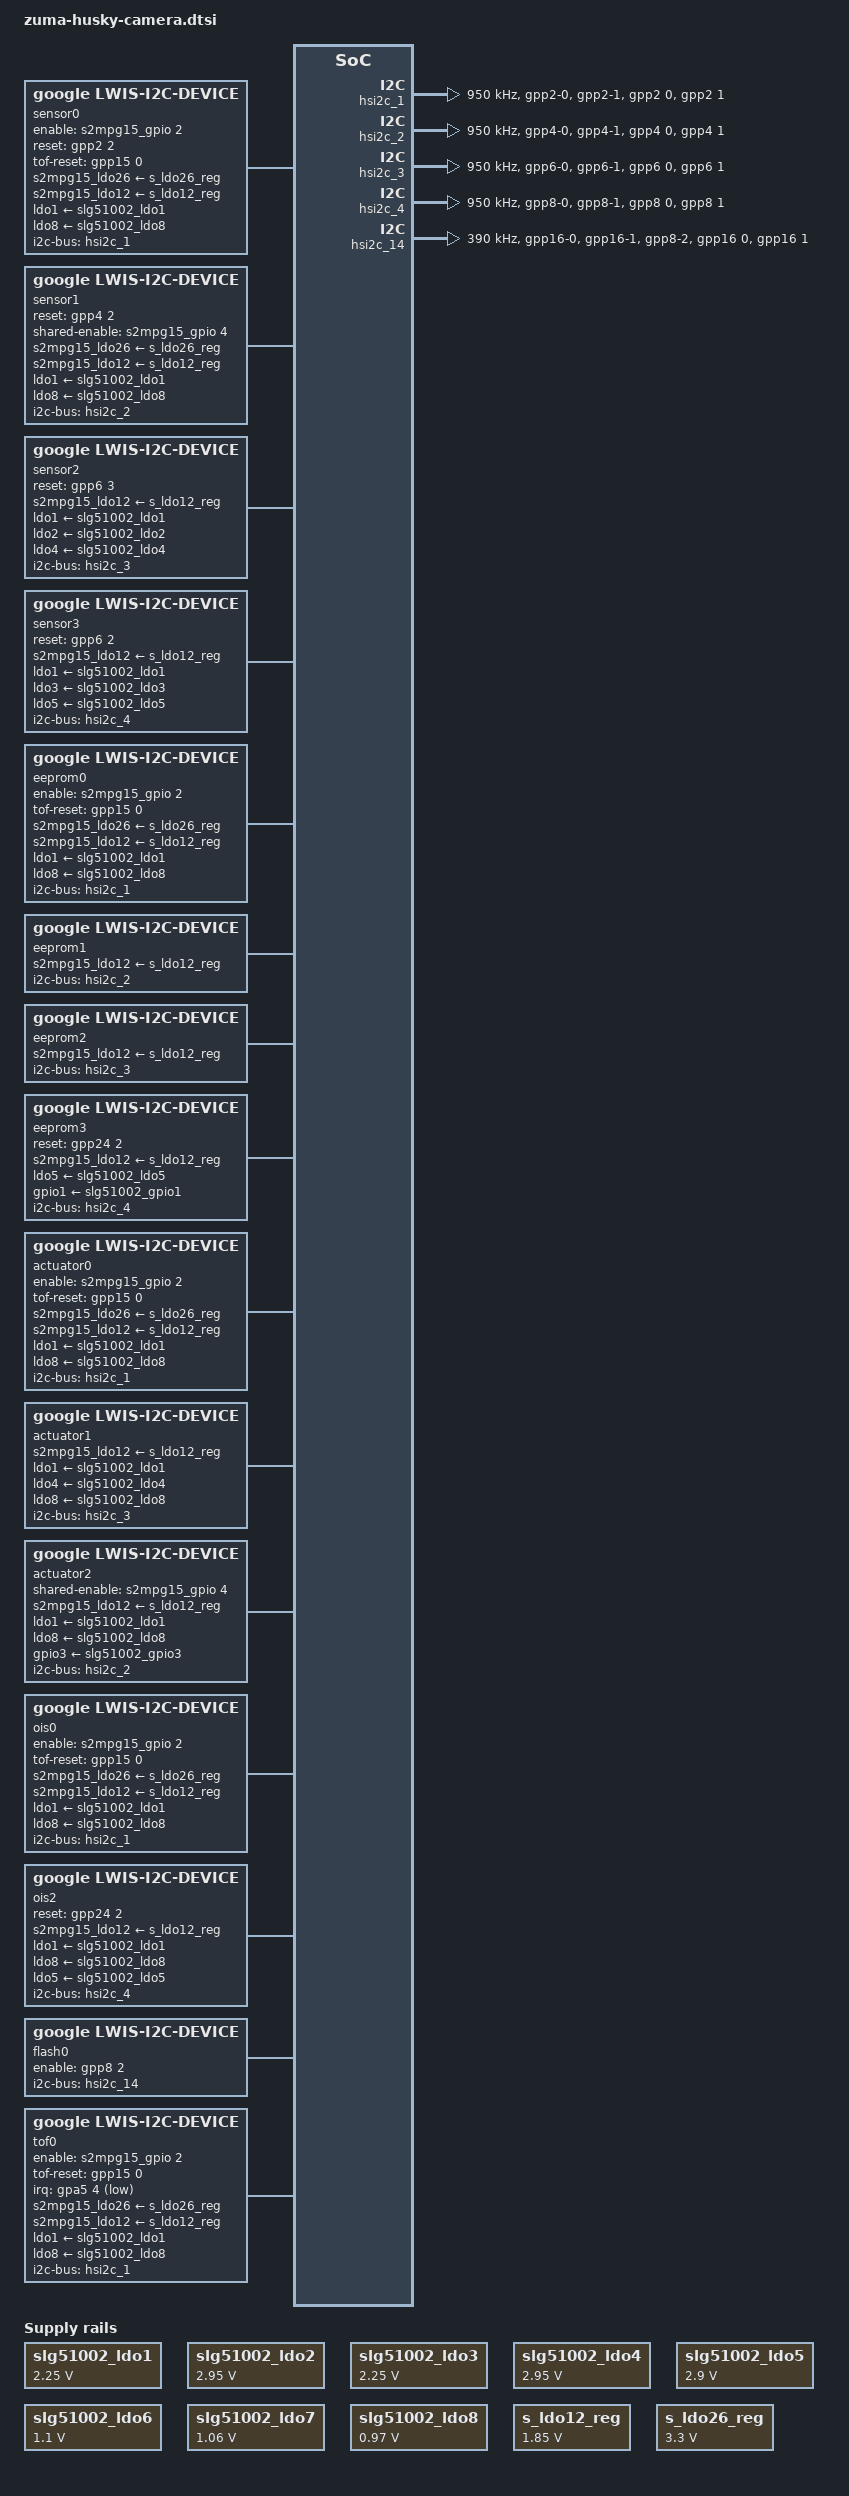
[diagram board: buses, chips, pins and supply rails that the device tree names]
// SPDX-License-Identifier: GPL-2.0-only
/*
 * zuma camera lwis device tree for ripcurrent
 *
 * Copyright 2022 Google LLC.
 *
 */

#include <dt-bindings/clock/zuma.h>
#include <dt-bindings/gpio/gpio.h>
#include <arm64/exynos/exynos-pinctrl.h>
#include <dt-bindings/lwis/platform/zuma/tof.h>

&slg51002_ldo1 {
	regulator-min-microvolt = <2250000>;
	regulator-max-microvolt = <2250000>;
};

&slg51002_ldo2 {
	regulator-min-microvolt = <2950000>;
	regulator-max-microvolt = <2950000>;
};

&slg51002_ldo3 {
	regulator-min-microvolt = <2250000>;
	regulator-max-microvolt = <2250000>;
};

&slg51002_ldo4 {
	regulator-min-microvolt = <2950000>;
	regulator-max-microvolt = <2950000>;
};

&slg51002_ldo5 {
	regulator-min-microvolt = <2900000>;
	regulator-max-microvolt = <2900000>;
};

&slg51002_ldo6 {
	regulator-min-microvolt = <1100000>;
	regulator-max-microvolt = <1100000>;
};

&slg51002_ldo7 {
	regulator-min-microvolt = <1060000>;
	regulator-max-microvolt = <1060000>;
};

&slg51002_ldo8 {
	regulator-min-microvolt = <970000>;
	regulator-max-microvolt = <970000>;
};

&s_ldo12_reg {
	regulator-min-microvolt = <1850000>;
	regulator-max-microvolt = <1850000>;
};

&s_ldo26_reg {
	regulator-min-microvolt = <3300000>;
	regulator-max-microvolt = <3300000>;
};

&pinctrl_11 {
	hsi2c1_bus: hsi2c1-bus {
		samsung,pin-pud = <EXYNOS_PIN_PULL_UP>;
	};

	hsi2c1_bus_in: hsi2c1-bus-in {
		samsung,pins = "gpp2-0", "gpp2-1";
		samsung,pin-function = <EXYNOS_PIN_FUNC_INPUT>;
		samsung,pin-pud = <EXYNOS_PIN_PULL_NONE>;
		samsung,pin-drv = <ZUMA_PIN_DRV_X1>;
	};

	hsi2c2_bus: hsi2c2-bus {
		samsung,pin-pud = <EXYNOS_PIN_PULL_UP>;
	};

	hsi2c2_bus_in: hsi2c2-bus-in {
		samsung,pins = "gpp4-0", "gpp4-1";
		samsung,pin-function = <EXYNOS_PIN_FUNC_INPUT>;
		samsung,pin-pud = <EXYNOS_PIN_PULL_NONE>;
		samsung,pin-drv = <ZUMA_PIN_DRV_X1>;
	};

	hsi2c3_bus: hsi2c3-bus {
		samsung,pin-pud = <EXYNOS_PIN_PULL_UP>;
	};

	hsi2c3_bus_in: hsi2c3-bus-in {
		samsung,pins = "gpp6-0", "gpp6-1";
		samsung,pin-function = <EXYNOS_PIN_FUNC_INPUT>;
		samsung,pin-pud = <EXYNOS_PIN_PULL_NONE>;
		samsung,pin-drv = <ZUMA_PIN_DRV_X1>;
	};

	hsi2c4_bus: hsi2c4-bus {
		samsung,pin-pud = <EXYNOS_PIN_PULL_UP>;
	};

	hsi2c4_bus_in: hsi2c4-bus-in {
		samsung,pins = "gpp8-0", "gpp8-1";
		samsung,pin-function = <EXYNOS_PIN_FUNC_INPUT>;
		samsung,pin-pud = <EXYNOS_PIN_PULL_NONE>;
		samsung,pin-drv = <ZUMA_PIN_DRV_X1>;
	};

	hsi2c14_bus: hsi2c14-bus {
		samsung,pins = "gpp16-0", "gpp16-1";
		samsung,pin-function = <EXYNOS_PIN_FUNC_2>;
		samsung,pin-pud = <EXYNOS_PIN_PULL_NONE>;
		samsung,pin-drv = <ZUMA_PIN_DRV_X1>;
		samsung,pin-con-pdn = <EXYNOS_PIN_PDN_PREV>;
		samsung,pin-pud-pdn = <EXYNOS_PIN_PULL_NONE>;
	};

	/* GPP8[2] Flashlight Enable */
	flash_en: flash-en {
		samsung,pins = "gpp8-2";
		samsung,pin-function = <EXYNOS_PIN_FUNC_INPUT>;
		samsung,pin-pud = <EXYNOS_PIN_PULL_NONE>;
		samsung,pin-con-pdn = <EXYNOS_PIN_PDN_PREV>;
		samsung,pin-pud-pdn = <EXYNOS_PIN_PULL_NONE>;
	};

	sensor_mclk1_out: sensor-mclk1-out {
		samsung,pin-drv = <ZUMA_PIN_DRV_X4>;
	};
	sensor_mclk1_fn: sensor-mclk1-fn {
		samsung,pin-drv = <ZUMA_PIN_DRV_X4>;
	};
	sensor_mclk2_out: sensor-mclk2-out {
		samsung,pin-drv = <ZUMA_PIN_DRV_X3>;
	};
	sensor_mclk2_fn: sensor-mclk2-fn {
		samsung,pin-drv = <ZUMA_PIN_DRV_X3>;
	};
	sensor_mclk3_out: sensor-mclk3-out {
		samsung,pin-drv = <ZUMA_PIN_DRV_X3>;
	};
	sensor_mclk3_fn: sensor-mclk3-fn {
		samsung,pin-drv = <ZUMA_PIN_DRV_X3>;
	};
	sensor_mclk4_out: sensor-mclk4-out {
		samsung,pin-drv = <ZUMA_PIN_DRV_X3>;
	};
	sensor_mclk4_fn: sensor-mclk4-fn {
		samsung,pin-drv = <ZUMA_PIN_DRV_X3>;
	};
};

&pinctrl_2 {
	ldaf_irq: ldaf-irq {
		samsung,pins = "gpa5-4"; /* XEINT_4 */
		samsung,pin-function = <EXYNOS_PIN_FUNC_EINT>;
		samsung,pin-pud = <EXYNOS_PIN_PULL_NONE>;
	};
};

&hsi2c_1 {
	#address-cells = <1>;
	#size-cells = <0>;
	gpios = <&gpp2 0 GPIO_ACTIVE_HIGH &gpp2 1 GPIO_ACTIVE_HIGH>;
	status = "okay";
	clock-frequency = <950000>;
	samsung,reset-before-trans;
	samsung,hybrid-polling-mode;
	samsung,trailing-count = <0x20000>;

	pinctrl-names = "default","on_i2c","off_i2c";
	pinctrl-0 = <&hsi2c1_bus_in>;
	pinctrl-1 = <&hsi2c1_bus>;
	pinctrl-2 = <&hsi2c1_bus_in>;
};

&hsi2c_2 {
	#address-cells = <1>;
	#size-cells = <0>;
	gpios = <&gpp4 0 GPIO_ACTIVE_HIGH &gpp4 1 GPIO_ACTIVE_HIGH>;
	status = "okay";
	clock-frequency = <950000>;
	samsung,reset-before-trans;

	pinctrl-names = "default","on_i2c","off_i2c";
	pinctrl-0 = <&hsi2c2_bus_in>;
	pinctrl-1 = <&hsi2c2_bus>;
	pinctrl-2 = <&hsi2c2_bus_in>;
};

&hsi2c_3 {
	#address-cells = <1>;
	#size-cells = <0>;
	gpios = <&gpp6 0 GPIO_ACTIVE_HIGH &gpp6 1 GPIO_ACTIVE_HIGH>;
	status = "okay";
	clock-frequency = <950000>;
	samsung,reset-before-trans;

	pinctrl-names = "default","on_i2c","off_i2c";
	pinctrl-0 = <&hsi2c3_bus_in>;
	pinctrl-1 = <&hsi2c3_bus>;
	pinctrl-2 = <&hsi2c3_bus_in>;
};

&hsi2c_4 {
	#address-cells = <1>;
	#size-cells = <0>;
	gpios = <&gpp8 0 GPIO_ACTIVE_HIGH &gpp8 1 GPIO_ACTIVE_HIGH>;
	status = "okay";
	clock-frequency = <950000>;
	samsung,reset-before-trans;

	pinctrl-names = "default","on_i2c","off_i2c";
	pinctrl-0 = <&hsi2c4_bus_in>;
	pinctrl-1 = <&hsi2c4_bus>;
	pinctrl-2 = <&hsi2c4_bus_in>;
};

&hsi2c_14 {
	#address-cells = <1>;
	#size-cells = <0>;
	gpios = <&gpp16 0 GPIO_ACTIVE_HIGH &gpp16 1 GPIO_ACTIVE_HIGH>;
	status = "okay";
	clock-frequency = <390000>;

	pinctrl-names = "default","on_i2c","off_i2c";
	pinctrl-0 = <&hsi2c14_bus &flash_en>;
	pinctrl-1 = <&hsi2c14_bus>;
	pinctrl-2 = <&hsi2c14_bus>;
};

/ {
	fragment@lwiscamera {
		target-path = "/";
		__overlay__ {
			/* Rear camera power seqeunce */
			rear_camera_power_seq: module_power_seq@0 {
				/* Power up sequence */
				power-up-seqs =
					"ldo1",
					"enable",
					"ldo8",
					"s2mpg15_ldo26",
					"s2mpg15_ldo12",
					"ldo4",
					"mclk_on",
					"tof-reset",
					"ldo5",
					"gpio4";
				power-up-seq-types =
					"regulator",
					"gpio",
					"regulator",
					"regulator",
					"regulator",
					"regulator",
					"pinctrl",
					"gpio",
					"regulator",
					"regulator";
				power-up-seq-delays-us =
					<500
					 10
					 750
					 0
					 0
					 1000
					 0
					 0
					 1000
					 1000>;

				/* Power down sequence */
				power-down-seqs =
					"gpio4",
					"ldo5",
					"tof-reset",
					"mclk_off",
					"ldo4",
					"s2mpg15_ldo12",
					"s2mpg15_ldo26",
					"ldo8",
					"ldo1",
					"enable";
				power-down-seq-types =
					"regulator",
					"regulator",
					"gpio",
					"pinctrl",
					"regulator",
					"regulator",
					"regulator",
					"regulator",
					"regulator",
					"gpio";
				power-down-seq-delays-us =
					<1000
					 1000
					 0
					 1000
					 0
					 0
					 500
					 500
					 0
					 0>;
			};
			/* REAR CAMERA BOITATA */
			sensor0: sensor@0 {
				compatible = "google,lwis-i2c-device";

				/* Device node name */
				node-name = "sensor-boitata";

				/* I2C */
				i2c-bus = <&hsi2c_1>;
				i2c-addr = <0x3D>;

				/* Power up mode */
				lwis,power-up-to-suspend;

				/* Registers */
				reg-addr-bitwidth = <16>;
				reg-value-bitwidth = <16>;
				/* CAMS_LVBUCK_EN for ldo8 */
				enable-gpios = <&s2mpg15_gpio 2 GPIO_ACTIVE_HIGH>;

				/* GPIOs */
				/* RCAM_RST_L GPP2[2] */
				reset-gpios = <&gpp2 2 GPIO_ACTIVE_HIGH>;
				/* XAPC_MCLK8: GPP15[0] */
				tof-reset-gpios = <&gpp15 0 GPIO_ACTIVE_HIGH>;

				/* Power supplies */
				s2mpg15_ldo26-supply = <&s_ldo26_reg>;
				s2mpg15_ldo12-supply = <&s_ldo12_reg>;
				ldo1-supply = <&slg51002_ldo1>;
				ldo8-supply = <&slg51002_ldo8>;
				ldo4-supply = <&slg51002_ldo4>;
				ldo5-supply = <&slg51002_ldo5>;
				gpio4-supply = <&slg51002_gpio4>;

				clocks =
					<&clock CIS_CLK3>,
					<&clock GATE_DFTMUX_CMU_CIS_CLK3>;
				clock-names =
					"CIS_CLK3",
					"GATE_DFTMUX_CMU_CIS_CLK3";
				clock-rates =
					<26000000>,
					<0>;

				/* MCLK Control */
				pinctrl-names = "mclk_on", "mclk_off";
				pinctrl-0 = <&sensor_mclk4_fn &sensor_mclk8_out &ldaf_irq>;
				pinctrl-1 = <&sensor_mclk4_out &sensor_mclk8_out &ldaf_irq>;

				/* Power sequence */
				power-seq = <&rear_camera_power_seq>;

				/* resume sequence */
				resume-seqs = "reset";
				resume-seq-types = "gpio";
				resume-seq-delays-us = <9000>;

				/* suspend sequence */
				suspend-seqs = "reset";
				suspend-seq-types = "gpio";
				suspend-seq-delays-us = <0>;

				/* Thread priority */
				transaction-thread-priority = <99>;

				i2c-lock-group-id = <0>;
			};

			/* FRONT CAMERA DOKKAEBI */
			sensor1: sensor@1 {
				compatible = "google,lwis-i2c-device";

				/* Device node name */
				node-name = "sensor-dokkaebi";

				/* I2C */
				i2c-bus = <&hsi2c_2>;
				i2c-addr = <0x10>;

				/* Registers */
				reg-addr-bitwidth = <16>;
				reg-value-bitwidth = <16>;

				/* GPIOs */
				reset-gpios = <&gpp4 2 GPIO_ACTIVE_HIGH>;
				/* Include front AF power sequence in front cam */
				shared-enable-gpios = <&s2mpg15_gpio 4 GPIO_ACTIVE_HIGH>;

				/* Power supplies */
				s2mpg15_ldo26-supply = <&s_ldo26_reg>;
				s2mpg15_ldo12-supply = <&s_ldo12_reg>;
				ldo1-supply = <&slg51002_ldo1>;
				ldo8-supply = <&slg51002_ldo8>;
				gpio3-supply = <&slg51002_gpio3>;

				clocks =
					<&clock CIS_CLK1>,
					<&clock GATE_DFTMUX_CMU_CIS_CLK1>;
				clock-names =
					"CIS_CLK1",
					"GATE_DFTMUX_CMU_CIS_CLK1";
				clock-rates =
					<24000000>,
					<0>;

				/* MCLK Control */
				pinctrl-names = "mclk_on", "mclk_off";
				pinctrl-0 = <&sensor_mclk2_fn>;
				pinctrl-1 = <&sensor_mclk2_out>;

				/* Power up sequence */
				power-up-seqs =
					"ldo1",
					"ldo8",
					"s2mpg15_ldo26",
					"s2mpg15_ldo12",
					"gpio3",
					"shared-enable",
					"mclk_on",
					"reset";
				power-up-seq-types =
					"regulator",
					"regulator",
					"regulator",
					"regulator",
					"regulator",
					"gpio",
					"pinctrl",
					"gpio";
				power-up-seq-delays-us =
					<500
					 750
					 0
					 0
					 500
					 500
					 1000
					 8000>;

				/* Power down sequence */
				power-down-seqs =
					"reset",
					"shared-enable",
					"mclk_off",
					"gpio3",
					"s2mpg15_ldo12",
					"s2mpg15_ldo26",
					"ldo8",
					"ldo1";
				power-down-seq-types =
					"gpio",
					"gpio",
					"pinctrl",
					"regulator",
					"regulator",
					"regulator",
					"regulator",
					"regulator";
				power-down-seq-delays-us =
					<0
					 0
					 1000
					 0
					 0
					 500
					 500
					 0>;

				/* Thread priority */
				transaction-thread-priority = <99>;

				i2c-lock-group-id = <1>;
			};


			/* REAR ULTRA WIDE CAMERA OKSOKO */
			sensor2: sensor@2 {
				compatible = "google,lwis-i2c-device";

				/* Device node name */
				node-name = "sensor-oksoko";

				/* I2C */
				i2c-bus = <&hsi2c_3>;
				i2c-addr = <0x1A>;

				/* Registers */
				reg-addr-bitwidth = <16>;
				reg-value-bitwidth = <8>;

				/* GPIOs */
				reset-gpios = <&gpp6 3 GPIO_ACTIVE_HIGH>;

				/* Power supplies */
				s2mpg15_ldo12-supply = <&s_ldo12_reg>;
				ldo1-supply = <&slg51002_ldo1>;
				ldo2-supply = <&slg51002_ldo2>;
				ldo4-supply = <&slg51002_ldo4>;
				ldo6-supply = <&slg51002_ldo6>;
				ldo8-supply = <&slg51002_ldo8>;
				gpio2-supply = <&slg51002_gpio2>;

				clocks =
					<&clock CIS_CLK0>,
					<&clock GATE_DFTMUX_CMU_CIS_CLK0>;
				clock-names =
					"CIS_CLK0",
					"GATE_DFTMUX_CMU_CIS_CLK0";
				clock-rates =
					<24000000>,
					<0>;

				/* MCLK Control */
				pinctrl-names = "mclk_on", "mclk_off";
				pinctrl-0 = <&sensor_mclk1_fn>;
				pinctrl-1 = <&sensor_mclk1_out>;

				/* Power up sequence */
				power-up-seqs =
					"ldo1",
					"ldo8",
					"s2mpg15_ldo12",
					"ldo6",
					"ldo2",
					"ldo4",
					"gpio2",
					"mclk_on",
					"reset";
				power-up-seq-types =
					"regulator",
					"regulator",
					"regulator",
					"regulator",
					"regulator",
					"regulator",
					"regulator",
					"pinctrl",
					"gpio";
				power-up-seq-delays-us =
					<500
					 750
					 0
					 0
					 0
					 0
					 1000
					 1000
					 10000>;

				/* Power down sequence */
				power-down-seqs =
					"reset",
					"mclk_off",
					"gpio2",
					"ldo4",
					"ldo2",
					"ldo6",
					"s2mpg15_ldo12",
					"ldo8",
					"ldo1";
				power-down-seq-types =
					"gpio",
					"pinctrl",
					"regulator",
					"regulator",
					"regulator",
					"regulator",
					"regulator",
					"regulator",
					"regulator";
				power-down-seq-delays-us =
					<1000
					 1000
					 0
					 0
					 0
					 0
					 500
					 500
					 0>;

				/* resume sequence */
				resume-seqs = "reset";
				resume-seq-types = "gpio";
				resume-seq-delays-us = <7600>;

				/* suspend sequence */
				suspend-seqs = "reset";
				suspend-seq-types = "gpio";
				suspend-seq-delays-us = <0>;

				/* Thread priority */
				transaction-thread-priority = <99>;

				i2c-lock-group-id = <2>;
			};

			/* REAR Folded Tele Camera KRAKEN */
			sensor3: sensor@3 {
				compatible = "google,lwis-i2c-device";

				/* Device node name */
				node-name = "sensor-kraken";

				/* I2C */
				i2c-bus = <&hsi2c_4>;
				i2c-addr = <0x2D>;

				/* Registers */
				reg-addr-bitwidth = <16>;
				reg-value-bitwidth = <16>;

				/* GPIOs */
				/* RTCAM_RST_L GPP6[2] */
				reset-gpios = <&gpp6 2 GPIO_ACTIVE_HIGH>;

				/* Power supplies */
				s2mpg15_ldo12-supply = <&s_ldo12_reg>;
				ldo1-supply = <&slg51002_ldo1>;
				ldo3-supply = <&slg51002_ldo3>;
				ldo5-supply = <&slg51002_ldo5>;
				ldo7-supply = <&slg51002_ldo7>;
				ldo8-supply = <&slg51002_ldo8>;
				gpio1-supply = <&slg51002_gpio1>;

				clocks =
					<&clock CIS_CLK2>,
					<&clock GATE_DFTMUX_CMU_CIS_CLK2>;
				clock-names =
					"CIS_CLK2",
					"GATE_DFTMUX_CMU_CIS_CLK2";
				clock-rates =
					<24000000>,
					<0>;

				/* MCLK Control */
				pinctrl-names = "mclk_on", "mclk_off";
				pinctrl-0 = <&sensor_mclk3_fn>;
				pinctrl-1 = <&sensor_mclk3_out>;

				/* Power up sequence */
				power-up-seqs =
					"ldo1",
					"ldo8",
					"s2mpg15_ldo12",
					"ldo7",
					"ldo3",
					"ldo5",
					"gpio1",
					"mclk_on",
					"reset";
				power-up-seq-types =
					"regulator",
					"regulator",
					"regulator",
					"regulator",
					"regulator",
					"regulator",
					"regulator",
					"pinctrl",
					"gpio";
				power-up-seq-delays-us =
					<500
					 750
					 300
					 0
					 0
					 500
					 500
					 1000
					 10000>;

				/* Power down sequence */
				power-down-seqs =
					"reset",
					"mclk_off",
					"gpio1",
					"ldo5",
					"ldo7",
					"s2mpg15_ldo12",
					"ldo8",
					"ldo1",
					"ldo3";
				power-down-seq-types =
					"gpio",
					"pinctrl",
					"regulator",
					"regulator",
					"regulator",
					"regulator",
					"regulator",
					"regulator",
					"regulator";
				power-down-seq-delays-us =
					<0
					 0
					 1000
					 0
					 0
					 500
					 500
					 0
					 0>;

				/* Thread priority */
				transaction-thread-priority = <99>;

				i2c-lock-group-id = <3>;
				transaction-process-limit = <20>;
			};

			/* EEPROM DJINN for BOITATA*/
			eeprom0: eeprom@0 {
				compatible = "google,lwis-i2c-device";
				/* Device node name */
				node-name = "eeprom-djinn";
				/* I2C */
				i2c-bus = <&hsi2c_1>;
				i2c-addr = <0x24>;
				/* Registers */
				reg-addr-bitwidth = <16>;
				reg-value-bitwidth = <32>;
				/* GPIOs */
				enable-gpios = <&s2mpg15_gpio 2 GPIO_ACTIVE_HIGH>;
				tof-reset-gpios = <&gpp15 0 GPIO_ACTIVE_HIGH>;
				/* Power supplies */
				s2mpg15_ldo26-supply = <&s_ldo26_reg>;
				s2mpg15_ldo12-supply = <&s_ldo12_reg>;
				ldo1-supply = <&slg51002_ldo1>;
				ldo8-supply = <&slg51002_ldo8>;
				ldo4-supply = <&slg51002_ldo4>;
				ldo5-supply = <&slg51002_ldo5>;
				gpio4-supply = <&slg51002_gpio4>;
				/* MCLK Control */
				pinctrl-names = "mclk_on", "mclk_off";
				pinctrl-0 = <&sensor_mclk4_fn &sensor_mclk8_out &ldaf_irq>;
				pinctrl-1 = <&sensor_mclk4_out &sensor_mclk8_out &ldaf_irq>;
				/* Power sequence */
				power-seq = <&rear_camera_power_seq>;
			};

			/* EEPROM SMAUG for DOKKAEBI */
			eeprom1: eeprom@1 {
				compatible = "google,lwis-i2c-device";

				/* Device node name */
				node-name = "eeprom-smaug-dokkaebi";

				/* I2C */
				i2c-bus = <&hsi2c_2>;
				i2c-addr = <0x51>;

				/* Registers */
				reg-addr-bitwidth = <16>;
				reg-value-bitwidth = <8>;

				/* Power supplies */
				s2mpg15_ldo12-supply = <&s_ldo12_reg>;

				/* Power up sequence */
				power-up-seqs =
					"s2mpg15_ldo12";
				power-up-seq-types =
					"regulator";
				power-up-seq-delays-us =
					<1000>;

				/* Power down sequence */
				power-down-seqs =
					"s2mpg15_ldo12";
				power-down-seq-types =
					"regulator";
				power-down-seq-delays-us =
					<1000>;

				i2c-lock-group-id = <1>;
			};

			/* EEPROM SMAUG for OKSOKO */
			eeprom2: eeprom@2 {
				compatible = "google,lwis-i2c-device";

				/* Device node name */
				node-name = "eeprom-smaug-oksoko";

				/* I2C */
				i2c-bus = <&hsi2c_3>;
				i2c-addr = <0x50>;

				/* Registers */
				reg-addr-bitwidth = <16>;
				reg-value-bitwidth = <8>;

				/* Power supplies */
				s2mpg15_ldo12-supply = <&s_ldo12_reg>;

				/* Power up sequence */
				power-up-seqs =
					"s2mpg15_ldo12";
				power-up-seq-types =
					"regulator";
				power-up-seq-delays-us =
					<1000>;

				/* Power down sequence */
				power-down-seqs =
					"s2mpg15_ldo12";
				power-down-seq-types =
					"regulator";
				power-down-seq-delays-us =
					<1000>;

				i2c-lock-group-id = <2>;
			};

			/* EEPROM HUMBABA for KRAKEN */
			eeprom3: eeprom@3 {
				compatible = "google,lwis-i2c-device";
				/* Device node name */
				node-name = "eeprom-humbaba";
				/* I2C */
				i2c-bus = <&hsi2c_4>;
				i2c-addr = <0x61>;
				/* Registers */
				reg-addr-bitwidth = <16>;
				reg-value-bitwidth = <8>;
				/* GPIOs */
				reset-gpios = <&gpp24 2 GPIO_ACTIVE_HIGH>;

				/* Power supplies */
				s2mpg15_ldo12-supply = <&s_ldo12_reg>;
				ldo5-supply = <&slg51002_ldo5>;
				gpio1-supply = <&slg51002_gpio1>;

				/* Power up sequence */
				power-up-seqs =
					"s2mpg15_ldo12",
					"ldo5",
					"gpio1",
					"reset";
				power-up-seq-types =
					"regulator",
					"regulator",
					"regulator",
					"gpio";
				power-up-seq-delays-us =
					<1000
					 1000
					 1000
					 0>;

				/* Power down sequence */
				power-down-seqs =
					"reset",
					"gpio1",
					"ldo5",
					"s2mpg15_ldo12";
				power-down-seq-types =
					"gpio",
					"regulator",
					"regulator",
					"regulator";
				power-down-seq-delays-us =
					<1000
					 1000
					 1000
					 0>;

				i2c-lock-group-id = <3>;
			};

			/* Actuator CORNERFOLK for BOITATA */
			actuator0: actuator@0 {
				compatible = "google,lwis-i2c-device";

				/* Device node name */
				node-name = "act-cornerfolk";

				/* I2C */
				i2c-bus = <&hsi2c_1>;
				i2c-addr = <0xC>;

				/* Registers */
				reg-addr-bitwidth = <8>;
				reg-value-bitwidth = <8>;

				/* GPIOs */
				enable-gpios = <&s2mpg15_gpio 2 GPIO_ACTIVE_HIGH>;
				tof-reset-gpios = <&gpp15 0 GPIO_ACTIVE_HIGH>;
				/* Power supplies */
				s2mpg15_ldo26-supply = <&s_ldo26_reg>;
				s2mpg15_ldo12-supply = <&s_ldo12_reg>;
				ldo1-supply = <&slg51002_ldo1>;
				ldo8-supply = <&slg51002_ldo8>;
				ldo4-supply = <&slg51002_ldo4>;
				ldo5-supply = <&slg51002_ldo5>;
				gpio4-supply = <&slg51002_gpio4>;
				/* MCLK Control */
				pinctrl-names = "mclk_on", "mclk_off";
				pinctrl-0 = <&sensor_mclk4_fn &sensor_mclk8_out &ldaf_irq>;
				pinctrl-1 = <&sensor_mclk4_out &sensor_mclk8_out &ldaf_irq>;
				/* Power sequence */
				power-seq = <&rear_camera_power_seq>;

				/* Thread priority */
				transaction-thread-priority = <99>;

				i2c-lock-group-id = <0>;
			};

			/* Actuator CORNERFOLK for OKSOKO */
			actuator1: actuator@1 {
				compatible = "google,lwis-i2c-device";

				/* Device node name */
				node-name = "act-cornerfolk-oksoko";

				/* I2C */
				i2c-bus = <&hsi2c_3>;
				i2c-addr = <0xF>;

				/* Registers */
				reg-addr-bitwidth = <8>;
				reg-value-bitwidth = <8>;

				/* Power supplies */
				s2mpg15_ldo12-supply = <&s_ldo12_reg>;
				ldo1-supply = <&slg51002_ldo1>;
				ldo4-supply = <&slg51002_ldo4>;
				ldo8-supply = <&slg51002_ldo8>;

				/* Power up sequence */
				power-up-seqs =
					"ldo1",
					"ldo8",
					"s2mpg15_ldo12",
					"ldo4";
				power-up-seq-types =
					"regulator",
					"regulator",
					"regulator",
					"regulator";
				power-up-seq-delays-us =
					<500
					 750
					 0
					 0>;

				/* Power down sequence */
				power-down-seqs =
					"ldo4",
					"s2mpg15_ldo12",
					"ldo8",
					"ldo1";
				power-down-seq-types =
					"regulator",
					"regulator",
					"regulator",
					"regulator";
				power-down-seq-delays-us =
					<0
					 500
					 500
					 0>;

				/* Thread priority */
				transaction-thread-priority = <99>;

				i2c-lock-group-id = <2>;
			};

			/* Actuator CORNERFOLK for DOKKAEBI */
			actuator2: actuator@2 {
				compatible = "google,lwis-i2c-device";

				/* Device node name */
				node-name = "act-cornerfolk-dokkaebi";

				/* I2C */
				i2c-bus = <&hsi2c_2>;
				i2c-addr = <0xC>;

				/* Registers */
				reg-addr-bitwidth = <8>;
				reg-value-bitwidth = <8>;

				/* Power supplies */
				s2mpg15_ldo12-supply = <&s_ldo12_reg>;
				ldo1-supply = <&slg51002_ldo1>;
				ldo8-supply = <&slg51002_ldo8>;
				shared-enable-gpios = <&s2mpg15_gpio 4 GPIO_ACTIVE_HIGH>;
				/* Make front AF can be powered up alone */
				gpio3-supply = <&slg51002_gpio3>;


				/* Power up sequence */
				power-up-seqs =
					"ldo1",
					"ldo8",
					"s2mpg15_ldo12",
					"gpio3",
					"shared-enable";
				power-up-seq-types =
					"regulator",
					"regulator",
					"regulator",
					"regulator",
					"gpio";
				power-up-seq-delays-us =
					<500
					 750
					 1000
					 500
					 0>;

				/* Power down sequence */
				power-down-seqs =
					"shared-enable",
					"gpio3",
					"s2mpg15_ldo12",
					"ldo8",
					"ldo1";
				power-down-seq-types =
					"gpio",
					"regulator",
					"regulator",
					"regulator",
					"regulator";
				power-down-seq-delays-us =
					<0
					 0
					 500
					 500
					 0>;

				/* Thread priority */
				transaction-thread-priority = <99>;

				i2c-lock-group-id = <1>;
			};

			/* OIS DJINN for BOITATA*/
			ois0: ois@0 {
				compatible = "google,lwis-i2c-device";

				/* Device node name */
				node-name = "ois-djinn";

				/* I2C */
				i2c-bus = <&hsi2c_1>;
				i2c-addr = <0x24>;

				/* Registers */
				reg-addr-bitwidth = <16>;
				reg-value-bitwidth = <32>;

				/* GPIOs */
				enable-gpios = <&s2mpg15_gpio 2 GPIO_ACTIVE_HIGH>;
				tof-reset-gpios = <&gpp15 0 GPIO_ACTIVE_HIGH>;
				/* Power supplies */
				s2mpg15_ldo26-supply = <&s_ldo26_reg>;
				s2mpg15_ldo12-supply = <&s_ldo12_reg>;
				ldo1-supply = <&slg51002_ldo1>;
				ldo8-supply = <&slg51002_ldo8>;
				ldo4-supply = <&slg51002_ldo4>;
				ldo5-supply = <&slg51002_ldo5>;
				gpio4-supply = <&slg51002_gpio4>;
				/* MCLK Control */
				pinctrl-names = "mclk_on", "mclk_off";
				pinctrl-0 = <&sensor_mclk4_fn &sensor_mclk8_out &ldaf_irq>;
				pinctrl-1 = <&sensor_mclk4_out &sensor_mclk8_out &ldaf_irq>;
				/* Power sequence */
				power-seq = <&rear_camera_power_seq>;

				/* Thread priority */
				transaction-thread-priority = <99>;

				i2c-lock-group-id = <0>;
			};

			/* OIS HUMBABA for KRAKEN */
			ois2: ois@2 {
				compatible = "google,lwis-i2c-device";

				/* Device node name */
				node-name = "ois-humbaba";

				/* I2C */
				i2c-bus = <&hsi2c_4>;
				i2c-addr = <0x61>;

				/* Registers */
				reg-addr-bitwidth = <16>;
				reg-value-bitwidth = <8>;

				/* GPIOs */
				reset-gpios = <&gpp24 2 GPIO_ACTIVE_HIGH>;

				/* Power supplies */
				s2mpg15_ldo12-supply = <&s_ldo12_reg>;
				ldo1-supply = <&slg51002_ldo1>;
				ldo8-supply = <&slg51002_ldo8>;
				ldo5-supply = <&slg51002_ldo5>;
				gpio1-supply = <&slg51002_gpio1>;

				/* Power up sequence */
				power-up-seqs =
					"ldo1",
					"ldo8",
					"s2mpg15_ldo12",
					"ldo5",
					"gpio1",
					"reset";
				power-up-seq-types =
					"regulator",
					"regulator",
					"regulator",
					"regulator",
					"regulator",
					"gpio";
				power-up-seq-delays-us =
					<500
					 750
					 1000
					 1000
					 1000
					 0>;

				/* Power down sequence */
				power-down-seqs =
					"reset",
					"gpio1",
					"ldo5",
					"s2mpg15_ldo12",
					"ldo8",
					"ldo1";
				power-down-seq-types =
					"gpio",
					"regulator",
					"regulator",
					"regulator",
					"regulator",
					"regulator";
				power-down-seq-delays-us =
					<1000
					 1000
					 1000
					 500
					 500
					 0>;

				/* Thread priority */
				transaction-thread-priority = <99>;

				i2c-lock-group-id = <3>;
			};

			flash0: flash@0 {
				compatible = "google,lwis-i2c-device";

				/* Device node name */
				node-name = "flash-lm3644";

				/* I2C */
				i2c-bus = <&hsi2c_14>;
				i2c-addr = <0x63>;

				/* Registers */
				reg-addr-bitwidth = <8>;
				reg-value-bitwidth = <8>;

				/* Power Management hibernation (deep sleep) */
				/* 1 : enable, 0 : disable */
				pm-hibernation = <0>;

				/* GPIOs */
				/* HW_ENABLE GPP8[2] */
				enable-gpios =
					<&gpp8 2 GPIO_ACTIVE_HIGH>;
			};

			tof0: tof@0 {
				compatible = "google,lwis-i2c-device";

				/* Device node name */
				node-name = "tof-tarasque";

				/* I2C */
				i2c-bus = <&hsi2c_1>;
				i2c-addr = <0x29>;

				/* Registers */
				reg-addr-bitwidth = <16>;
				reg-value-bitwidth = <8>;

				/* GPIOs */
				enable-gpios = <&s2mpg15_gpio 2 GPIO_ACTIVE_HIGH>;
				tof-reset-gpios = <&gpp15 0 GPIO_ACTIVE_HIGH>;
				/* Power supplies */
				s2mpg15_ldo26-supply = <&s_ldo26_reg>;
				s2mpg15_ldo12-supply = <&s_ldo12_reg>;
				ldo1-supply = <&slg51002_ldo1>;
				ldo8-supply = <&slg51002_ldo8>;
				ldo4-supply = <&slg51002_ldo4>;
				ldo5-supply = <&slg51002_ldo5>;
				gpio4-supply = <&slg51002_gpio4>;

				/* MCLK and TOF IRQ Control*/
				pinctrl-names = "mclk_on", "mclk_off";
				pinctrl-0 = <&sensor_mclk4_fn &sensor_mclk8_out &ldaf_irq>;
				pinctrl-1 = <&sensor_mclk4_out &sensor_mclk8_out &ldaf_irq>;

				/* XEINT_4: GPA5[4] */
				irq-gpios = <&gpa5 4 GPIO_ACTIVE_LOW>;
				irq-gpios-names = "tof-irq";
				irq-gpios-events = <LWIS_PLATFORM_EVENT_ID_TOF_DATA_POLLING>;
				/* IRQF_ONESHOT | IRQF_TRIGGER_FALLING */
				irq-gpios-types = <0x2002>;

				/* Power sequence */
				power-seq = <&rear_camera_power_seq>;

				i2c-lock-group-id = <0>;
				transaction-process-limit = <1>;
				/* HIGH = 0, MEDIUM = 1, LOW = 2 */
				i2c-device-priority = <2>;
			};
		};
	};
};
